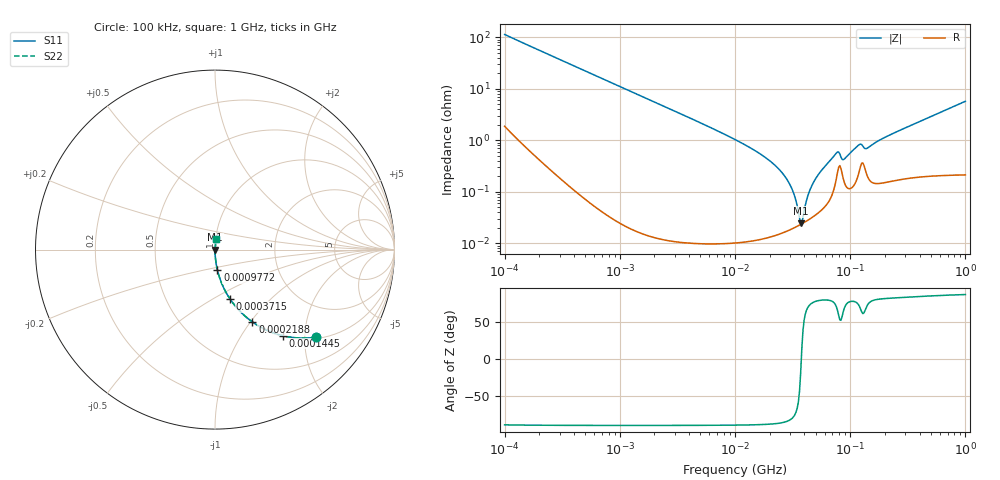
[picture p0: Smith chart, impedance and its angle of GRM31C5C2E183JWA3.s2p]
!Murata Part Number: GRM31C5C2E183JWA3
!These Parameters are Measured in Series Mode Connection
!Data Generated on Mar 30, 2021
!  o--ll--o
!Port1  Port2
!  o------o
!Operation Temp=25[degC], DC Bias Voltage=0[V]
!Freq. Start=100[kHz] Stop=1000[MHz] 401[Steps]
# Hz S RI R 50
!Freq.(Hz) S11(Real) S11(Imag) S21(Real) S21(Imag) S12(Real) S12(Imag) S22(Real) S22(Imag)
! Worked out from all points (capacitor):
!   401 points, 100 kHz to 1 GHz, reference 50 ohm
!   read as one part in series: C = 14.2 nF near 104.7 kHz
!   lowest |Z| = 24.4 mohm at 37.15 MHz (marker M1)
!   series resonance near 37.64 MHz, so ESL is about 1.3 nH
!   S11 on the Smith chart (normalised r, x): 100 kHz: 1.04, -2.26; 144.5 kHz: 1.02, -1.55; 218.8 kHz: 1.01, -1.02; 371.5 kHz: 1.00, -0.60; 977.2 kHz: 1.00, -0.23; 1 GHz: 1.00, +0.11
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100000  0.561 -0.4881  0.439 0.4881  0.439 0.4881  0.561 -0.4881
144544  0.3769 -0.4794  0.6231 0.4794  0.6231 0.4794  0.3769 -0.4794
218776  0.208 -0.4025  0.792 0.4025  0.792 0.4025  0.208 -0.4025
371535  0.0833 -0.2743  0.9167 0.2743  0.9167 0.2743  0.0833 -0.2743
467735  0.0542 -0.2247  0.9458 0.2247  0.9458 0.2247  0.0542 -0.2247
977237  0.013 -0.1122  0.987 0.1122  0.987 0.1122  0.013 -0.1122
2187762  0.00268 -0.0505  0.9973 0.0505  0.9973 0.0505  0.00268 -0.0505
1e7  0.000208 -0.0103  0.9998 0.0103  0.9998 0.0103  0.000208 -0.0103
1.778279e7  0.000146 -0.00486  0.9999 0.00486  0.9999 0.00486  0.000146 -0.00486
2.570396e7  0.000163 -0.00232  0.9998 0.00232  0.9998 0.00232  0.000163 -0.00232
3.162278e7  0.000193 -0.00104  0.9998 0.00104  0.9998 0.00104  0.000193 -0.00104
3.715352e7  0.000231 -7.77e-05  0.9998 7.77e-05  0.9998 7.77e-05  0.000231 -7.77e-05
3.890451e7  0.000245 0.000197  0.9998 -0.000197  0.9998 -0.000197  0.000245 0.000197
4.265795e7  0.000278 0.000752  0.9997 -0.000752  0.9997 -0.000752  0.000278 0.000752
4.677351e7  0.000319 0.00132  0.9997 -0.00132  0.9997 -0.00132  0.000319 0.00132
5.495409e7  0.000424 0.00238  0.9996 -0.00238  0.9996 -0.00238  0.000424 0.00238
7.585776e7  0.00183 0.00532  0.9982 -0.00532  0.9982 -0.00532  0.00183 0.00532
8.912509e7  0.00151 0.00406  0.9985 -0.00406  0.9985 -0.00406  0.00151 0.00406
1.174898e8  0.00217 0.00763  0.9978 -0.00763  0.9978 -0.00763  0.00217 0.00763
1.412538e8  0.00202 0.00675  0.998 -0.00675  0.998 -0.00675  0.00202 0.00675
2.187762e8  0.00172 0.0124  0.9983 -0.0124  0.9983 -0.0124  0.00172 0.0124
1e9  0.00534 0.0567  0.9947 -0.0567  0.9947 -0.0567  0.00534 0.0567
